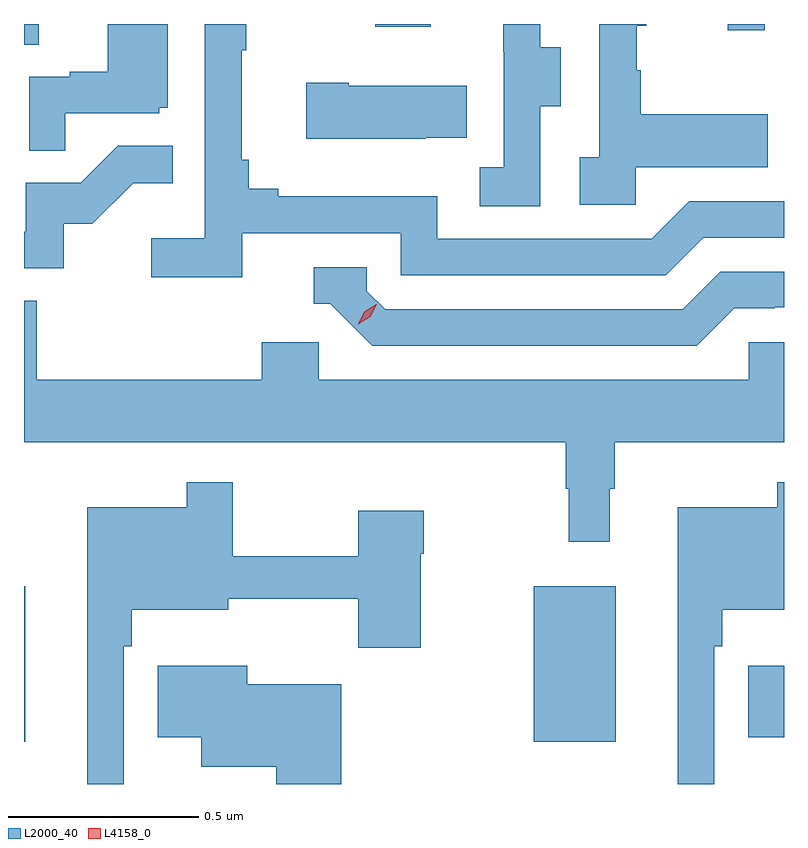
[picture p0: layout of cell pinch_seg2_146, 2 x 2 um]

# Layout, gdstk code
import gdstk
lib = gdstk.Library(unit=1e-6, precision=1e-09)
def R(c, l, rs):  # rectangles x0, y0, x1, y1
    for r in rs: c.add(gdstk.rectangle(r[:2], r[2:], *l))
def P(c, l, *ps):  # polygons
    for p in ps: c.add(gdstk.Polygon(p, *l))
L2000_40 = (2000, 40)
L4158_0 = (4158, 0)

pinch_seg2_146 = lib.new_cell('pinch_seg2_146')
R(pinch_seg2_146, L2000_40, [(1105.072,638.855,1105.075,639.265), (1106.414,638.855,1106.629,639.265), (1106.978,638.867,1107.072,639.055), (1105.072,640.69,1105.111,640.744), (1106.924,640.728,1107.021,640.744), (1105.996,640.737,1106.143,640.744)])
P(pinch_seg2_146, L2000_40, [(1105.646,640.194),(1106.064,640.194),(1106.064,640.083),(1106.761,640.083),(1106.86,640.182),(1107.072,640.182),(1107.072,640.278),(1106.823,640.278),(1106.724,640.179),(1106.16,640.179),(1106.16,640.291),(1105.741,640.291),(1105.741,640.31),(1105.664,640.31),(1105.664,640.387),(1105.645,640.387),(1105.645,640.675),(1105.657,640.675),(1105.657,640.744),(1105.548,640.744),(1105.548,640.18),(1105.407,640.18),(1105.407,640.078),(1105.646,640.078)],
  [(1106.682,640.367),(1107.029,640.367),(1107.029,640.507),(1106.695,640.507),(1106.695,640.622),(1106.685,640.622),(1106.685,640.74),(1106.71,640.74),(1106.71,640.744),(1106.586,640.744),(1106.586,640.394),(1106.535,640.394),(1106.535,640.269),(1106.682,640.269)],
  [(1106.43,640.528),(1106.485,640.528),(1106.485,640.683),(1106.431,640.683),(1106.431,640.744),(1106.333,640.744),(1106.333,640.671),(1106.334,640.671),(1106.334,640.367),(1106.271,640.367),(1106.271,640.264),(1106.43,640.264)],
  [(1105.181,640.509),(1105.428,640.509),(1105.428,640.524),(1105.45,640.524),(1105.45,640.744),(1105.292,640.744),(1105.292,640.618),(1105.193,640.618),(1105.193,640.605),(1105.086,640.605),(1105.086,640.411),(1105.181,640.411)],
  [(1106.129,640.445),(1106.237,640.445),(1106.237,640.582),(1105.927,640.582),(1105.927,640.59),(1105.815,640.59),(1105.815,640.442),(1106.129,640.442)],
  [(1105.176,640.218),(1105.252,640.218),(1105.359,640.325),(1105.463,640.325),(1105.463,640.424),(1105.319,640.424),(1105.221,640.326),(1105.077,640.326),(1105.077,640.197),(1105.072,640.197),(1105.072,640.101),(1105.176,640.101)],
  [(1106.941,639.996),(1107.048,639.996),(1107.048,639.999),(1107.072,639.999),(1107.072,640.092),(1106.904,640.092),(1106.805,639.993),(1106.022,639.993),(1105.974,640.041),(1105.974,640.104),(1105.835,640.104),(1105.835,640.008),(1105.878,640.008),(1105.989,639.897),(1106.842,639.897)],
  [(1106.614,639.521),(1106.626,639.521),(1106.626,639.644),(1107.072,639.644),(1107.072,639.906),(1106.979,639.906),(1106.979,639.808),(1105.848,639.808),(1105.848,639.906),(1105.697,639.906),(1105.697,639.808),(1105.106,639.808),(1105.106,640.016),(1105.072,640.016),(1105.072,639.644),(1106.497,639.644),(1106.497,639.521),(1106.505,639.521),(1106.505,639.381),(1106.614,639.381)],
  [(1106.889,639.107),(1106.909,639.107),(1106.909,639.203),(1107.072,639.203),(1107.072,639.538),(1107.054,639.538),(1107.054,639.472),(1106.792,639.472),(1106.792,638.744),(1106.889,638.744)],
  [(1105.335,639.107),(1105.355,639.107),(1105.355,639.203),(1105.609,639.203),(1105.609,639.232),(1105.951,639.232),(1105.951,639.102),(1106.116,639.102),(1106.116,639.35),(1106.124,639.35),(1106.124,639.463),(1105.951,639.463),(1105.951,639.343),(1105.621,639.343),(1105.621,639.538),(1105.5,639.538),(1105.5,639.472),(1105.238,639.472),(1105.238,638.744),(1105.335,638.744)],
  [(1105.907,639.007),(1105.66,639.007),(1105.66,639.055),(1105.424,639.055),(1105.424,638.867),(1105.538,638.867),(1105.538,638.789),(1105.736,638.789),(1105.736,638.744),(1105.907,638.744)])
P(pinch_seg2_146, L4158_0, [(1105.952,639.954),(1105.952,639.954),(1105.968,639.987),(1105.999,640.006),(1106,640.006),(1106,640.006),(1105.983,639.973),(1105.952,639.954)])

lib.write_gds('pinch_seg2_146.gds')
